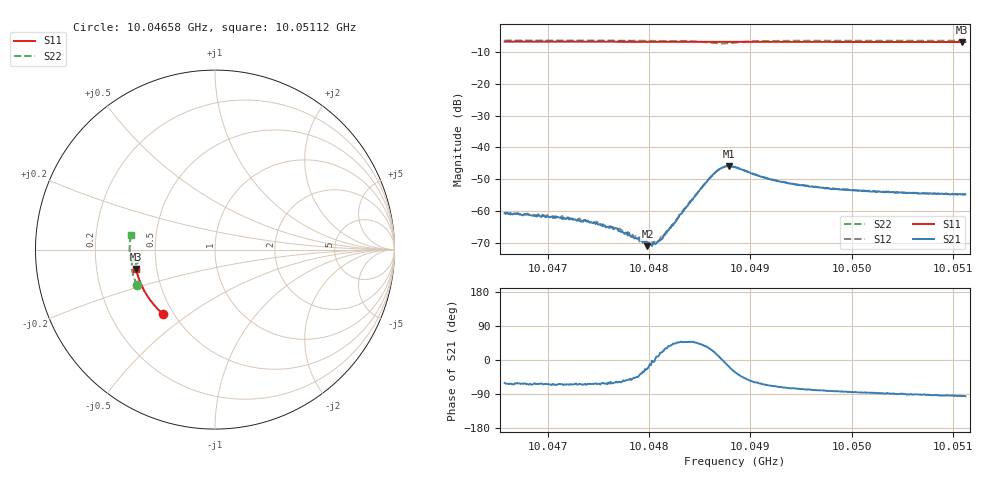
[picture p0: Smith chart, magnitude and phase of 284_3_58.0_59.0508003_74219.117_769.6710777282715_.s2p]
#  HZ  S  RI  R  50.00
! Rohde & Schwarz Vector Network Analyzer
! Rohde-Schwarz,ZNB20-2Port,1311601062101988,3.16
! Created: UTC 3/21/2024, 1:03:01 AM
! freq[Hz]  re:S11  im:S11  re:S21  im:S21  re:S12  im:S12  re:S22  im:S22
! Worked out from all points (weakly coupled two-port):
!   401 points, 10.04658 GHz to 10.05112 GHz, reference 50 ohm
!   highest |S21| = -45.89 dB at 10.04879 GHz (marker M1); lowest = -71.0 dB at 10.04798 GHz (marker M2)
!   lowest |S11| = -6.9 dB at 10.05109 GHz (marker M3), VSWR 2.66, Z = 19.1 - j5.17 ohm
!   |S11| at or under -10 dB: nowhere
!   |S22| runs from -7.3 to -6.4 dB; largest |S21 - S12| = 0.00037
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1.0046576e10  -0.29 -0.3584  0.000453 -0.000803  0.000504 -0.000803  -0.436 -0.1995
1.004711e10  -0.3158 -0.3342  0.000353 -0.000712  0.000391 -0.000693  -0.4489 -0.1657
1.0047337e10  -0.3264 -0.3233  0.000294 -0.000622  0.000361 -0.000595  -0.4537 -0.1506
1.0047382e10  -0.3282 -0.3214  0.000284 -0.000623  0.000388 -0.000601  -0.4545 -0.1477
1.0047666e10  -0.3408 -0.3071  0.000276 -0.000465  0.0003 -0.000434  -0.4594 -0.1283
1.0047723e10  -0.3431 -0.3042  0.000243 -0.000402  0.000294 -0.000414  -0.4602 -0.1241
1.0047928e10  -0.3514 -0.2937  0.000285 -0.000206  0.000287 -0.000201  -0.4627 -0.1089
1.0047985e10  -0.3538 -0.2908  0.000259 -0.000108  0.000292 -0.000117  -0.4634 -0.1046
1.0048007e10  -0.3548 -0.2894  0.000303 -6.32e-05  0.000311 -7.24e-05  -0.4634 -0.1028
1.0048064e10  -0.3571 -0.2864  0.0003 2.67e-05  0.000309 2.25e-05  -0.4639 -0.0982
1.0048098e10  -0.3585 -0.2847  0.00033 6.88e-05  0.000329 0.000105  -0.4641 -0.0954
1.0048178e10  -0.3615 -0.2805  0.000421 0.000251  0.000392 0.000248  -0.4642 -0.0888
1.0048326e10  -0.3674 -0.2726  0.000625 0.000682  0.00062 0.000744  -0.4626 -0.0753
1.0048621e10  -0.3777 -0.2564  0.00324 0.00157  0.00312 0.00174  -0.439 -0.0519
1.0048712e10  -0.3807 -0.2513  0.00473 0.000285  0.00473 0.000559  -0.4271 -0.0604
1.0048791e10  -0.3836 -0.2472  0.00481 -0.00162  0.00494 -0.00134  -0.4296 -0.0737
1.0048848e10  -0.3854 -0.244  0.00415 -0.00259  0.00436 -0.00236  -0.4377 -0.0785
1.0049201e10  -0.3971 -0.2239  0.00119 -0.00292  0.00138 -0.00286  -0.4682 -0.0544
1.004961e10  -0.4091 -0.1998  0.000465 -0.00238  0.000639 -0.00234  -0.4747 -0.0212
1.0050371e10  -0.4274 -0.1532  4.38e-05 -0.00198  0.000195 -0.00198  -0.4746 0.0325
1.0051087e10  -0.4399 -0.1079  -0.000164 -0.00182  -4.7e-05 -0.00185  -0.4686 0.0804
1.0051121e10  -0.4405 -0.1057  -0.000182 -0.00182  -5.57e-05 -0.00184  -0.4684 0.0826
